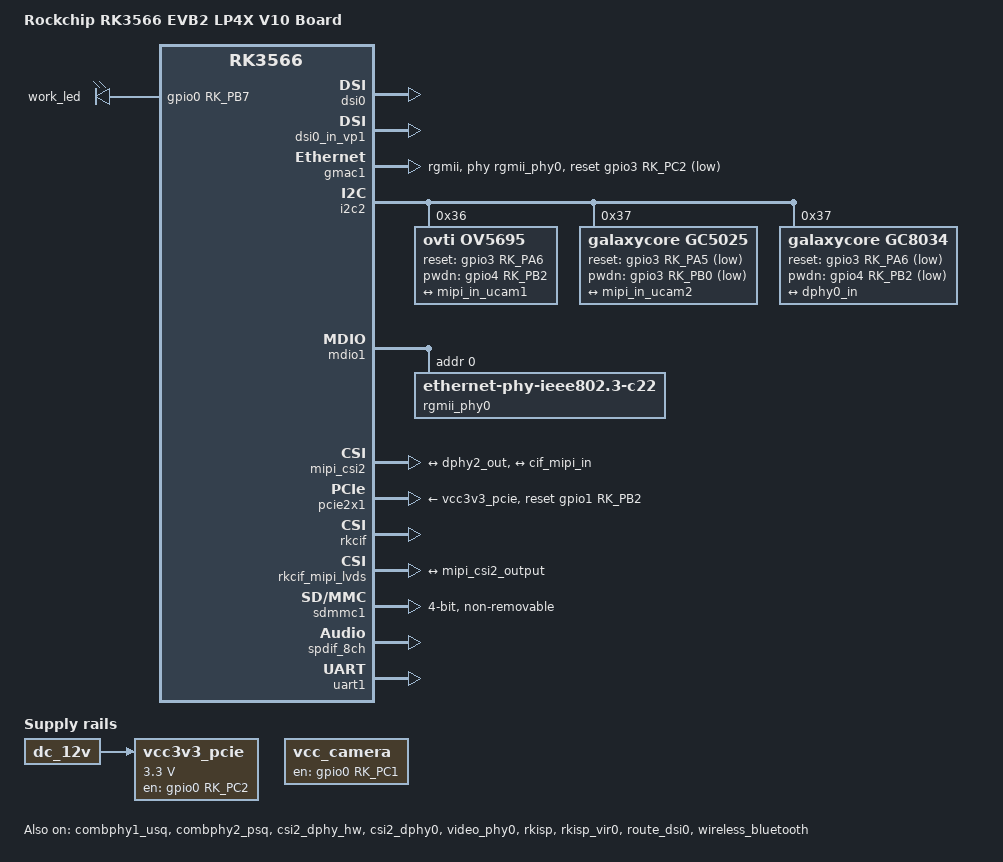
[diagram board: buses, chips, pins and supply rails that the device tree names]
// SPDX-License-Identifier: (GPL-2.0+ OR MIT)
/*
 * Copyright (c) 2020 Rockchip Electronics Co., Ltd.
 *
 */

/dts-v1/;

#include <dt-bindings/gpio/gpio.h>
#include <dt-bindings/display/media-bus-format.h>
#include <dt-bindings/pinctrl/rockchip.h>
#include "rk3566.dtsi"
#include "rk3566-evb.dtsi"

/ {
	model = "Rockchip RK3566 EVB2 LP4X V10 Board";
	compatible = "rockchip,rk3566-evb2-lp4x-v10", "rockchip,rk3566";

	vcc_camera: vcc-camera-regulator {
		compatible = "regulator-fixed";
		gpio = <&gpio0 RK_PC1 GPIO_ACTIVE_HIGH>;
		pinctrl-names = "default";
		pinctrl-0 = <&camera_pwr>;
		regulator-name = "vcc_camera";
		enable-active-high;
		regulator-always-on;
		regulator-boot-on;
	};

	vcc3v3_pcie: gpio-regulator {
		compatible = "regulator-fixed";
		regulator-name = "vcc3v3_pcie";
		regulator-min-microvolt = <3300000>;
		regulator-max-microvolt = <3300000>;
		enable-active-high;
		gpio = <&gpio0 RK_PC2 GPIO_ACTIVE_HIGH>;
		startup-delay-us = <5000>;
		vin-supply = <&dc_12v>;
	};
};

&combphy1_usq {
	status = "okay";
};

&combphy2_psq {
	status = "okay";
};

&csi2_dphy_hw {
	status = "okay";
};

&csi2_dphy0 {
	status = "okay";
	/*
	 * dphy0 only used for full mode,
	 * full mode and split mode are mutually exclusive
	 */
	ports {
		#address-cells = <1>;
		#size-cells = <0>;

		port@0 {
			reg = <0>;
			#address-cells = <1>;
			#size-cells = <0>;

			dphy0_in: endpoint@1 {
				reg = <1>;
				remote-endpoint = <&gc8034_out>;
				data-lanes = <1 2 3 4>;
			};

			mipi_in_ucam1: endpoint@2 {
				reg = <2>;
				remote-endpoint = <&ov5695_out>;
				data-lanes = <1 2>;
			};

			mipi_in_ucam2: endpoint@3 {
				reg = <3>;
				remote-endpoint = <&gc5025_out>;
				data-lanes = <1 2>;
			};
		};

		port@1 {
			reg = <1>;
			#address-cells = <1>;
			#size-cells = <0>;

			dphy0_out: endpoint@1 {
				reg = <1>;
				remote-endpoint = <&isp0_in_dphy0>;
			};
		};
	};
};

&csi2_dphy1 {
	status = "disabled";

	/*
	 * dphy1 only used for split mode,
	 * can be used  concurrently  with dphy2
	 * full mode and split mode are mutually exclusive
	 */
	ports {
		#address-cells = <1>;
		#size-cells = <0>;

		port@0 {
			reg = <0>;
			#address-cells = <1>;
			#size-cells = <0>;

			dphy1_in: endpoint@1 {
				reg = <1>;
				//remote-endpoint = <&ov5695_out>;
				data-lanes = <1 2>;
			};
		};

		port@1 {
			reg = <1>;
			#address-cells = <1>;
			#size-cells = <0>;

			dphy1_out: endpoint@1 {
				reg = <1>;
				remote-endpoint = <&isp0_in>;
			};
		};
	};
};

&csi2_dphy2 {
	status = "disabled";

	/*
	 * dphy2 only used for split mode,
	 * can be used  concurrently  with dphy1
	 * full mode and split mode are mutually exclusive
	 */
	ports {
		#address-cells = <1>;
		#size-cells = <0>;

		port@0 {
			reg = <0>;
			#address-cells = <1>;
			#size-cells = <0>;

			dphy2_in: endpoint@1 {
				reg = <1>;
				//remote-endpoint = <&gc5025_out>;
				data-lanes = <1 2>;
			};
		};

		port@1 {
			reg = <1>;
			#address-cells = <1>;
			#size-cells = <0>;

			dphy2_out: endpoint@1 {
				reg = <1>;
				remote-endpoint = <&mipi_csi2_input>;
			};
		};
	};
};

/*
 * video_phy0 needs to be enabled
 * when dsi0 is enabled
 */
&dsi0 {
	status = "okay";
};

&dsi0_in_vp0 {
	status = "disabled";
};

&dsi0_in_vp1 {
	status = "okay";
};

&dsi0_panel {
	power-supply = <&vcc3v3_lcd0_n>;
	reset-gpios = <&gpio3 RK_PA3 GPIO_ACTIVE_LOW>;
	pinctrl-names = "default";
	pinctrl-0 = <&lcd0_rst_gpio>;
};

/*
 * video_phy1 needs to be enabled
 * when dsi1 is enabled
 */
&dsi1 {
	status = "disabled";
};

&dsi1_in_vp0 {
	status = "disabled";
};

&dsi1_in_vp1 {
	status = "disabled";
};

&dsi1_panel {
	power-supply = <&vcc3v3_lcd1_n>;
	reset-gpios = <&gpio3 RK_PA4 GPIO_ACTIVE_LOW>;
	pinctrl-names = "default";
	pinctrl-0 = <&lcd1_rst_gpio>;
};

&gmac1 {
	phy-mode = "rgmii";
	clock_in_out = "output";

	snps,reset-gpio = <&gpio3 RK_PC2 GPIO_ACTIVE_LOW>;
	snps,reset-active-low;
	/* Reset time is 20ms, 100ms for rtl8211f */
	snps,reset-delays-us = <0 20000 100000>;

	assigned-clocks = <&cru SCLK_GMAC1_RX_TX>, <&cru SCLK_GMAC1>;
	assigned-clock-parents = <&cru SCLK_GMAC1_RGMII_SPEED>, <&cru CLK_MAC1_2TOP>;
	assigned-clock-rates = <0>, <125000000>;

	pinctrl-names = "default";
	pinctrl-0 = <&gmac1m1_miim
		     &gmac1m1_tx_bus2
		     &gmac1m1_rx_bus2
		     &gmac1m1_rgmii_clk
		     &gmac1m1_rgmii_bus>;

	tx_delay = <0x4f>;
	rx_delay = <0x25>;

	phy-handle = <&rgmii_phy0>;
	status = "okay";
};

&i2c2 {
	status = "okay";
	pinctrl-0 = <&i2c2m1_xfer>;

	/* split mode: lane0/1 */
	ov5695: ov5695@36 {
		status = "okay";
		compatible = "ovti,ov5695";
		reg = <0x36>;
		clocks = <&cru CLK_CIF_OUT>;
		clock-names = "xvclk";
		power-domains = <&power RK3568_PD_VI>;
		pinctrl-names = "default";
		pinctrl-0 = <&cif_clk>;
		reset-gpios = <&gpio3 RK_PA6 GPIO_ACTIVE_HIGH>;
		pwdn-gpios = <&gpio4 RK_PB2 GPIO_ACTIVE_HIGH>;
		/*power-gpios = <&gpio0 RK_PC1 GPIO_ACTIVE_HIGH>;*/
		rockchip,camera-module-index = <0>;
		rockchip,camera-module-facing = "back";
		rockchip,camera-module-name = "TongJu";
		rockchip,camera-module-lens-name = "CHT842-MD";
		port {
			ov5695_out: endpoint {
				remote-endpoint = <&mipi_in_ucam1>;
				data-lanes = <1 2>;
			};
		};
	};

	/* split mode: lane:2/3 */
	gc5025: gc5025@37 {
		status = "okay";
		compatible = "galaxycore,gc5025";
		reg = <0x37>;
		clocks = <&pmucru CLK_WIFI>;
		clock-names = "xvclk";
		pinctrl-names = "default";
		pinctrl-0 = <&refclk_pins>;
		reset-gpios = <&gpio3 RK_PA5 GPIO_ACTIVE_LOW>;
		pwdn-gpios = <&gpio3 RK_PB0 GPIO_ACTIVE_LOW>;
		power-domains = <&power RK3568_PD_VI>;
		/*power-gpios = <&gpio0 RK_PC1 GPIO_ACTIVE_HIGH>;*/
		rockchip,camera-module-index = <1>;
		rockchip,camera-module-facing = "front";
		rockchip,camera-module-name = "TongJu";
		rockchip,camera-module-lens-name = "CHT842-MD";
		port {
			gc5025_out: endpoint {
				remote-endpoint = <&mipi_in_ucam2>;
				data-lanes = <1 2>;
			};
		};
	};

	/* full mode: lane0-3 */
	gc8034: gc8034@37 {
		compatible = "galaxycore,gc8034";
		status = "okay";
		reg = <0x37>;
		clocks = <&cru CLK_CIF_OUT>;
		clock-names = "xvclk";
		power-domains = <&power RK3568_PD_VI>;
		pinctrl-names = "default";
		pinctrl-0 = <&cif_clk>;
		reset-gpios = <&gpio3 RK_PA6 GPIO_ACTIVE_LOW>;
		pwdn-gpios = <&gpio4 RK_PB2 GPIO_ACTIVE_LOW>;
		rockchip,camera-module-index = <0>;
		rockchip,camera-module-facing = "back";
		rockchip,camera-module-name = "RK-CMK-8M-2-v1";
		rockchip,camera-module-lens-name = "CK8401";
		port {
			gc8034_out: endpoint {
				remote-endpoint = <&dphy0_in>;
				data-lanes = <1 2 3 4>;
			};
		};
	};
};

&i2c4 {
	/* i2c4 sda conflict with camera pwdn */
	status = "disabled";

	/*
	 * gc2145 needs to be disabled,
	 * when gmac1 is enabled;
	 * pinctrl conflicts;
	 */
	gc2145: gc2145@3c {
		status = "disabled";
		compatible = "galaxycore,gc2145";
		reg = <0x3c>;
		clocks = <&cru CLK_CIF_OUT>;
		clock-names = "xvclk";
		power-domains = <&power RK3568_PD_VI>;
		pinctrl-names = "default";
		/* conflict with gmac1m1_rgmii_pins & cif_clk*/
		pinctrl-0 = <&cif_clk &cif_dvp_clk &cif_dvp_bus16>;

		/*avdd-supply = <&vcc2v8_dvp>;*/
		/*dovdd-supply = <&vcc1v8_dvp>;*/
		/*dvdd-supply = <&vcc1v8_dvp>;*/

		/*reset-gpios = <&gpio3 RK_PB5 GPIO_ACTIVE_LOW>;*/
		pwdn-gpios = <&gpio4 RK_PA6 GPIO_ACTIVE_HIGH>;
		rockchip,camera-module-index = <0>;
		rockchip,camera-module-facing = "back";
		rockchip,camera-module-name = "CameraKing";
		rockchip,camera-module-lens-name = "Largan";
		port {
			gc2145_out: endpoint {
				remote-endpoint = <&dvp_in_bcam>;
			};
		};
	};
};

&mdio1 {
	rgmii_phy0: phy@0 {
		compatible = "ethernet-phy-ieee802.3-c22";
		reg = <0x0>;
	};
};



/*
 * power-supply should switche to vcc3v3_lcd1_n
 * when mipi panel is connected to dsi1.
 */
&gt1x {
	power-supply = <&vcc3v3_lcd0_n>;
};

&mipi_csi2 {
	status = "okay";

	ports {
		#address-cells = <1>;
		#size-cells = <0>;

		port@0 {
			reg = <0>;
			#address-cells = <1>;
			#size-cells = <0>;

			mipi_csi2_input: endpoint@1 {
				reg = <1>;
				remote-endpoint = <&dphy2_out>;
				data-lanes = <1 2>;
			};
		};

		port@1 {
			reg = <1>;
			#address-cells = <1>;
			#size-cells = <0>;

			mipi_csi2_output: endpoint@0 {
				reg = <0>;
				remote-endpoint = <&cif_mipi_in>;
				data-lanes = <1 2>;
			};
		};
	};
};

&video_phy0 {
	status = "okay";
};

&video_phy1 {
	status = "disabled";
};

&pcie2x1 {
	reset-gpios = <&gpio1 RK_PB2 GPIO_ACTIVE_HIGH>;
	vpcie3v3-supply = <&vcc3v3_pcie>;
	status = "okay";
};

&pinctrl {
	cam {
		camera_pwr: camera-pwr {
			rockchip,pins =
				/* camera power en */
				<0 RK_PC1 RK_FUNC_GPIO &pcfg_pull_none>;
		};
	};

	sdio-pwrseq {
		wifi_enable_h: wifi-enable-h {
			rockchip,pins = <2 RK_PB1 RK_FUNC_GPIO &pcfg_pull_none>;
		};
	};

	wireless-wlan {
		wifi_host_wake_irq: wifi-host-wake-irq {
			rockchip,pins = <2 RK_PB2 RK_FUNC_GPIO &pcfg_pull_down>;
		};
	};

	wireless-bluetooth {
		uart1_gpios: uart1-gpios {
			rockchip,pins = <2 RK_PB5 RK_FUNC_GPIO &pcfg_pull_none>;
		};
	};

	lcd0 {
		lcd0_rst_gpio: lcd0-rst-gpio {
			rockchip,pins = <3 RK_PA3 RK_FUNC_GPIO &pcfg_pull_none>;
		};
	};

	lcd1 {
		lcd1_rst_gpio: lcd1-rst-gpio {
			rockchip,pins = <3 RK_PA4 RK_FUNC_GPIO &pcfg_pull_none>;
		};
	};
};

&rkcif {
	status = "okay";
};

&rkcif_dvp {
	status = "disabled";

	port {
		/* Parallel bus endpoint */
		dvp_in_bcam: endpoint {
			remote-endpoint = <&gc2145_out>;
			bus-width = <8>;
			vsync-active = <0>;
			hsync-active = <1>;
		};
	};
};

&rkcif_mipi_lvds {
	status = "okay";

	port {
		cif_mipi_in: endpoint {
			remote-endpoint = <&mipi_csi2_output>;
			data-lanes = <1 2>;
		};
	};
};

&rkcif_mmu {
	status = "okay";
};

&rkisp {
	status = "okay";
};

&rkisp_mmu {
	status = "okay";
};

&rkisp_vir0 {
	status = "okay";

	port {
		#address-cells = <1>;
		#size-cells = <0>;

		isp0_in: endpoint@0 {
			reg = <0>;
			remote-endpoint = <&dphy1_out>;
		};
		isp0_in_dphy0: endpoint@1 {
			reg = <1>;
			remote-endpoint = <&dphy0_out>;
		};
	};
};

&route_dsi0 {
	status = "okay";
	connect = <&vp1_out_dsi0>;
};

&sdmmc2 {
	status = "disabled";
};

&sdmmc1 {
	max-frequency = <150000000>;
	no-sd;
	no-mmc;
	bus-width = <4>;
	disable-wp;
	cap-sd-highspeed;
	cap-sdio-irq;
	keep-power-in-suspend;
	mmc-pwrseq = <&sdio_pwrseq>;
	non-removable;
	pinctrl-names = "default";
	pinctrl-0 = <&sdmmc1_bus4 &sdmmc1_cmd &sdmmc1_clk>;
	sd-uhs-sdr104;
	status = "okay";
};

&sdio_pwrseq {
	reset-gpios = <&gpio2 RK_PB1 GPIO_ACTIVE_LOW>;
};

&spdif_8ch {
	status = "okay";
	pinctrl-names = "default";
	pinctrl-0 = <&spdifm1_tx>;
};

&uart1 {
	status = "okay";
	pinctrl-names = "default";
	pinctrl-0 = <&uart1m0_xfer &uart1m0_ctsn>;
};

&vcc3v3_lcd0_n {
	gpio = <&gpio0 RK_PC7 GPIO_ACTIVE_HIGH>;
	enable-active-high;
};

&vcc3v3_lcd1_n {
	gpio = <&gpio0 RK_PC5 GPIO_ACTIVE_HIGH>;
	enable-active-high;
};
&wireless_wlan {
	pinctrl-names = "default";
	pinctrl-0 = <&wifi_host_wake_irq>;
	WIFI,host_wake_irq = <&gpio2 RK_PB2 GPIO_ACTIVE_HIGH>;
	WIFI,poweren_gpio = <&gpio2 RK_PB1 GPIO_ACTIVE_HIGH>;
};

&work_led {
	gpios = <&gpio0 RK_PB7 GPIO_ACTIVE_HIGH>;
};

&wireless_bluetooth {
	compatible = "bluetooth-platdata";
	clocks = <&rk809 1>;
	clock-names = "ext_clock";
	//wifi-bt-power-toggle;
	uart_rts_gpios = <&gpio2 RK_PB5 GPIO_ACTIVE_LOW>;
	pinctrl-names = "default", "rts_gpio";
	pinctrl-0 = <&uart1m0_rtsn>;
	pinctrl-1 = <&uart1_gpios>;
	BT,reset_gpio    = <&gpio2 RK_PB7 GPIO_ACTIVE_HIGH>;
	BT,wake_gpio     = <&gpio2 RK_PC1 GPIO_ACTIVE_HIGH>;
	BT,wake_host_irq = <&gpio2 RK_PC0 GPIO_ACTIVE_HIGH>;
	status = "okay";
};
